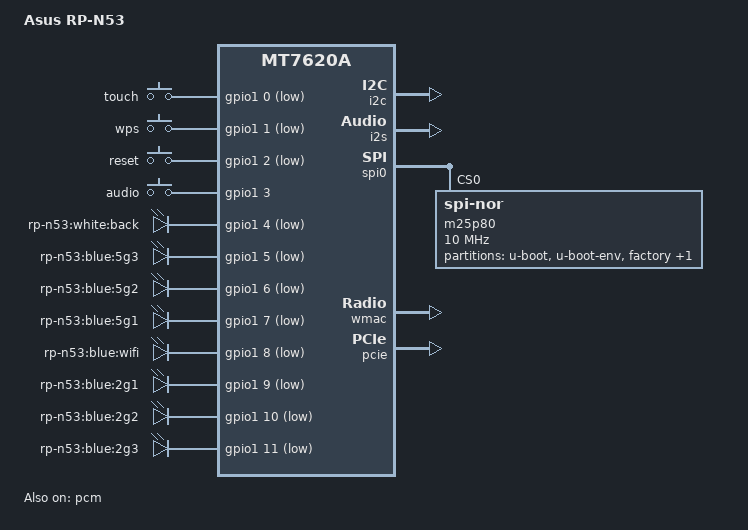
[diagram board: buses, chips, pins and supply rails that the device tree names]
/dts-v1/;

#include "mt7620a.dtsi"

/ {
	compatible = "asus,rp-n53", "ralink,mt7620a-soc";
	model = "Asus RP-N53";

	gpio-keys-polled {
		compatible = "gpio-keys-polled";
		#address-cells = <1>;
		#size-cells = <0>;
		poll-interval = <20>;

		touch {
			label = "touch";
			gpios = <&gpio1 0 1>;
			linux,code = <0x100>;
		};

		wps {
			label = "wps";
			gpios = <&gpio1 1 1>;
			linux,code = <0x100>;
		};

		reset {
			label = "reset";
			gpios = <&gpio1 2 1>;
			linux,code = <0x100>;
		};

		audio {
			label = "audio";
			gpios = <&gpio1 3 0>;
			linux,code = <0x101>;
		};
	};

	gpio-leds {
		compatible = "gpio-leds";

		backlight {
			label = "rp-n53:white:back";
			gpios = <&gpio1 4 1>;
		};

		wifi0 {
			label = "rp-n53:blue:5g3";
			gpios = <&gpio1 5 1>;
		};

		wifi1 {
			label = "rp-n53:blue:5g2";
			gpios = <&gpio1 6 1>;
		};

		wifi2 {
			label = "rp-n53:blue:5g1";
			gpios = <&gpio1 7 1>;
		};

		wifi3 {
			label = "rp-n53:blue:wifi";
			gpios = <&gpio1 8 1>;
		};

		wifi4 {
			label = "rp-n53:blue:2g1";
			gpios = <&gpio1 9 1>;
		};

		wifi5 {
			label = "rp-n53:blue:2g2";
			gpios = <&gpio1 10 1>;
		};

		wifi6 {
			label = "rp-n53:blue:2g3";
			gpios = <&gpio1 11 1>;
		};
	};
};

&gpio1 {
	status = "okay";
};

&i2c {
	status = "okay";
};

&i2s {
	status = "okay";
	pinctrl-names = "default";
	pinctrl-0 = <&pcm_i2s_pins>;
};

&spi0 {
	status = "okay";

	m25p80@0 {
		#address-cells = <1>;
		#size-cells = <1>;
		compatible = "jedec,spi-nor";
		reg = <0>;
		linux,modalias = "m25p80";
		spi-max-frequency = <10000000>;

		partition@0 {
			label = "u-boot";
			reg = <0x0 0x30000>;
			read-only;
		};

		partition@30000 {
			label = "u-boot-env";
			reg = <0x30000 0x10000>;
			read-only;
		};

		factory: partition@40000 {
			label = "factory";
			reg = <0x40000 0x10000>;
			read-only;
		};

		partition@50000 {
			label = "firmware";
			reg = <0x50000 0x7b0000>;
		};
	};
};

&pcm {
	status = "okay";
};

&gdma {
	status = "okay";
};

&wmac {
	ralink,mtd-eeprom = <&factory 0>;
};

&pinctrl {
	state_default: pinctrl0 {
		gpio {
			ralink,group = "mdio", "rgmii1";
			ralink,function = "gpio";
		};
	};
};

&gsw {
	mediatek,port4 = "ephy";
	pinctrl-names = "default";
	pinctrl-0 = <&ephy_pins>;
};

&pcie {
	status = "okay";
};
